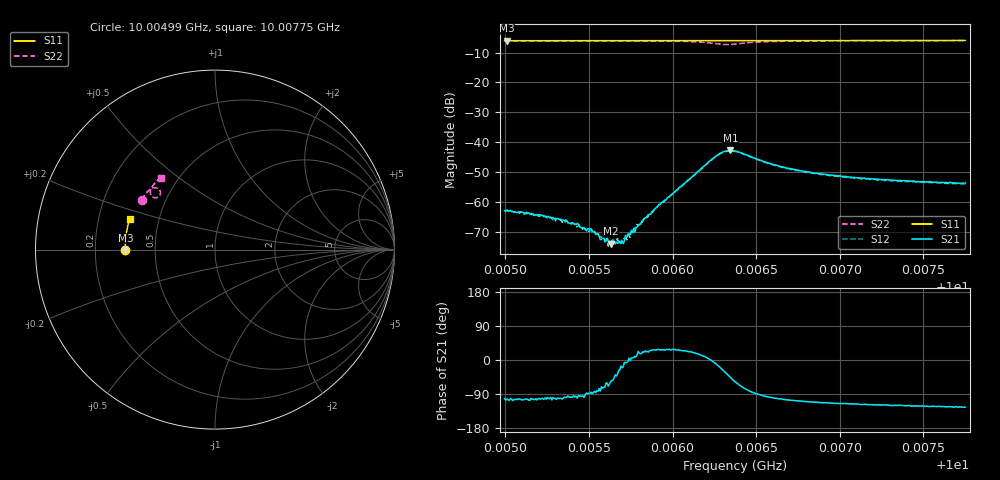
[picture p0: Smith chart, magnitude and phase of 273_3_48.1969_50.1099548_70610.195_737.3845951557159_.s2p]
#  HZ  S  RI  R  50.00
! Rohde & Schwarz Vector Network Analyzer
! Rohde-Schwarz,ZNB20-2Port,1311601062101988,3.16
! Created: UTC 3/20/2024, 11:48:16 AM
! freq[Hz]  re:S11  im:S11  re:S21  im:S21  re:S12  im:S12  re:S22  im:S22
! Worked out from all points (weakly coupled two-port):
!   401 points, 10.00499 GHz to 10.00775 GHz, reference 50 ohm
!   highest |S21| = -42.78 dB at 10.00635 GHz (marker M1); lowest = -74.1 dB at 10.00563 GHz (marker M2)
!   lowest |S11| = -6.0 dB at 10.00501 GHz (marker M3), VSWR 3.00, Z = 16.7 - j0.0717 ohm
!   |S11| at or under -10 dB: nowhere
!   |S22| runs from -7.3 to -6.0 dB; largest |S21 - S12| = 0.00043
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1.0004995e10  -0.4996 -0.00248  -0.000146 -0.000698  -0.000147 -0.000708  -0.4093 0.2778
1.0005009e10  -0.4995 -0.00161  -0.000162 -0.000713  -0.000185 -0.000679  -0.409 0.2784
1.0005147e10  -0.4999 0.00737  -0.000174 -0.000605  -0.000115 -0.000609  -0.4036 0.2866
1.0005326e10  -0.4997 0.0189  -0.000101 -0.000498  -8.23e-05 -0.000491  -0.3966 0.2973
1.0005422e10  -0.4998 0.0253  -3.92e-05 -0.000411  -1.62e-05 -0.000405  -0.3924 0.3031
1.0005457e10  -0.4997 0.0275  -3.56e-05 -0.000362  -2.71e-05 -0.000364  -0.3908 0.3051
1.0005505e10  -0.4997 0.0306  1.13e-05 -0.000338  5.73e-06 -0.000329  -0.3886 0.308
1.0005533e10  -0.4995 0.0325  4.1e-05 -0.000317  5.81e-05 -0.000312  -0.3873 0.3098
1.0005588e10  -0.4996 0.036  8.08e-05 -0.000246  7.31e-05 -0.000243  -0.3847 0.3132
1.0005629e10  -0.4993 0.0387  0.000107 -0.000167  0.000126 -0.000164  -0.3824 0.3157
1.0005698e10  -0.499 0.043  0.000207 -7.79e-05  0.000239 -3.48e-05  -0.3788 0.32
1.0005732e10  -0.499 0.0455  0.000286 -2.06e-05  0.000254 1.26e-05  -0.3769 0.3222
1.0005788e10  -0.4988 0.049  0.000371 9.41e-05  0.000408 0.000102  -0.3734 0.3257
1.0005918e10  -0.4981 0.0574  0.000804 0.000412  0.000768 0.000407  -0.3636 0.3344
1.0006249e10  -0.4954 0.0786  0.00554 -0.000675  0.00543 -0.000359  -0.3074 0.3299
1.0006298e10  -0.4948 0.0815  0.00616 -0.00285  0.00612 -0.00254  -0.3047 0.3097
1.0006346e10  -0.4944 0.0843  0.00503 -0.00524  0.00518 -0.00489  -0.3183 0.2922
1.0006373e10  -0.4945 0.0859  0.00387 -0.00598  0.00406 -0.00565  -0.33 0.2888
1.0006601e10  -0.4926 0.1006  -0.000722 -0.00417  -0.000506 -0.00411  -0.3596 0.3272
1.0006835e10  -0.4898 0.1154  -0.00108 -0.00288  -0.000946 -0.00287  -0.3499 0.3512
1.0007297e10  -0.4831 0.1445  -0.00111 -0.00203  -0.00103 -0.00202  -0.3265 0.3795
1.0007752e10  -0.4749 0.1726  -0.00118 -0.00172  -0.00102 -0.0017  -0.3035 0.4011
